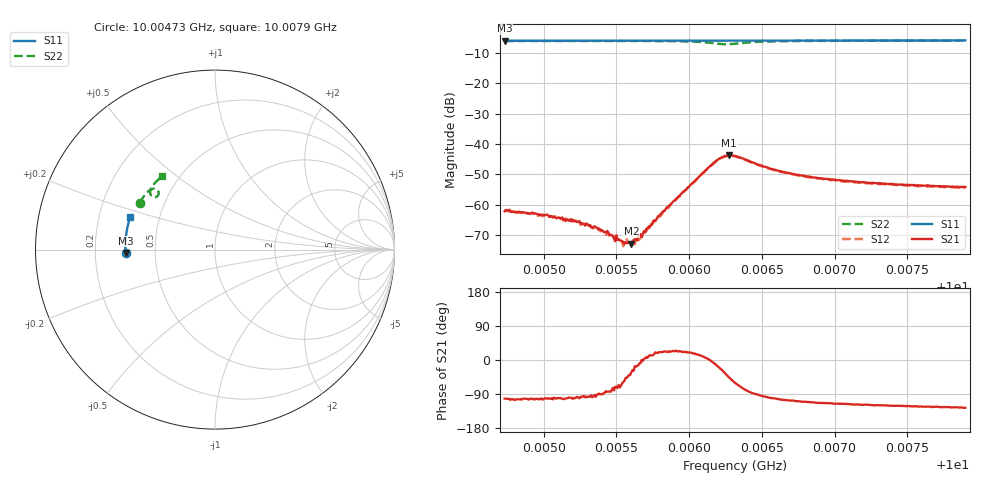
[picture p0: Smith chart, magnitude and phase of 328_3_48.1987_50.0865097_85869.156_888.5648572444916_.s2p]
#  HZ  S  RI  R  50.00
! Rohde & Schwarz Vector Network Analyzer
! Rohde-Schwarz,ZNB20-2Port,1311601062101988,3.16
! Created: UTC 3/20/2024, 11:50:47 AM
! freq[Hz]  re:S11  im:S11  re:S21  im:S21  re:S12  im:S12  re:S22  im:S22
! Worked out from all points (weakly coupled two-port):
!   401 points, 10.00473 GHz to 10.0079 GHz, reference 50 ohm
!   highest |S21| = -43.72 dB at 10.00628 GHz (marker M1); lowest = -72.8 dB at 10.0056 GHz (marker M2)
!   lowest |S11| = -6.0 dB at 10.00473 GHz (marker M3), VSWR 2.99, Z = 16.7 - j0.865 ohm
!   |S11| at or under -10 dB: nowhere
!   |S22| runs from -7.2 to -6.0 dB; largest |S21 - S12| = 0.00036
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1.0004731e10  -0.4986 -0.0194  -0.000161 -0.000768  -0.00014 -0.000774  -0.4183 0.2621
1.0005009e10  -0.4997 -0.00152  -0.000124 -0.000659  -0.00012 -0.000674  -0.4085 0.2786
1.0005167e10  -0.4999 0.00883  -0.000101 -0.000549  -6.15e-05 -0.000565  -0.4026 0.288
1.0005262e10  -0.4999 0.015  -6.83e-05 -0.000493  -1.97e-05 -0.00048  -0.3988 0.2936
1.000531e10  -0.4999 0.018  -5.21e-05 -0.000449  -2.26e-05 -0.000461  -0.3968 0.2966
1.0005397e10  -0.4999 0.0236  2.14e-06 -0.000384  2.46e-05 -0.000387  -0.3929 0.3017
1.0005452e10  -0.4998 0.0272  3.92e-05 -0.000318  8.69e-05 -0.000299  -0.3903 0.305
1.0005476e10  -0.4995 0.0288  8.91e-05 -0.000292  5.99e-05 -0.000314  -0.3893 0.3065
1.0005539e10  -0.4995 0.0329  0.00012 -0.000224  0.00011 -0.000218  -0.3862 0.3104
1.0005571e10  -0.4993 0.035  0.000161 -0.000169  0.000182 -0.0002  -0.3844 0.3123
1.0005603e10  -0.4994 0.037  0.000193 -0.000124  0.000208 -0.000111  -0.3826 0.3142
1.0005642e10  -0.4994 0.0396  0.00025 -7.05e-05  0.000276 -5.88e-05  -0.3805 0.3168
1.0005666e10  -0.4993 0.0411  0.000325 -4.73e-05  0.000308 -2.01e-05  -0.3791 0.3183
1.0005793e10  -0.4988 0.0493  0.000612 0.000232  0.000592 0.000208  -0.3707 0.3263
1.0006165e10  -0.496 0.0734  0.00479 -0.000565  0.00471 -0.000307  -0.3178 0.328
1.000622e10  -0.4956 0.0767  0.00542 -0.0025  0.00543 -0.00223  -0.3139 0.3108
1.0006276e10  -0.4953 0.0799  0.00451 -0.0047  0.00465 -0.00441  -0.3253 0.2948
1.0006315e10  -0.495 0.0823  0.00314 -0.00551  0.00339 -0.00528  -0.3381 0.2919
1.0006561e10  -0.493 0.0981  -0.000702 -0.00387  -0.000472 -0.00384  -0.3605 0.3278
1.0006846e10  -0.4898 0.1164  -0.00105 -0.00265  -0.000924 -0.00264  -0.3485 0.3533
1.0007376e10  -0.4818 0.1496  -0.00111 -0.00189  -0.00101 -0.00191  -0.3223 0.3838
1.0007899e10  -0.4717 0.1817  -0.00116 -0.00159  -0.00103 -0.0016  -0.2959 0.4075
